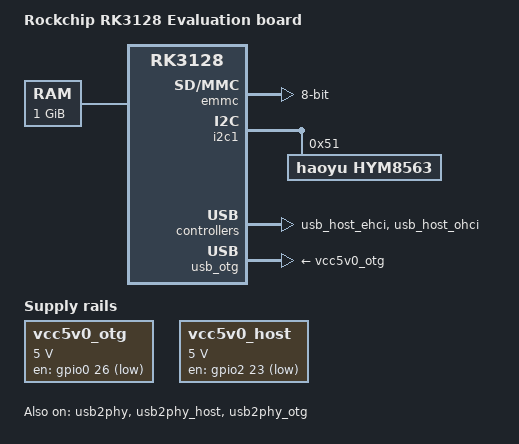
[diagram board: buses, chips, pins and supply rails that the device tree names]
// SPDX-License-Identifier: GPL-2.0+
/*
 * (C) Copyright 2017 Rockchip Electronics Co., Ltd
 */

/dts-v1/;

#include "rk3128.dtsi"

/ {
	model = "Rockchip RK3128 Evaluation board";
	compatible = "rockchip,rk3128-evb", "rockchip,rk3128";

	aliases {
		mmc0 = &emmc;
	};

	chosen {
		stdout-path = &uart2;
	};

	memory@60000000 {
		device_type = "memory";
		reg = <0x60000000 0x40000000>;
	};

	vcc5v0_otg: vcc5v0-otg-regulator {
		compatible = "regulator-fixed";
		gpio = <&gpio0 26 GPIO_ACTIVE_HIGH>;
		pinctrl-names = "default";
		pinctrl-0 = <&otg_vbus_drv>;
		regulator-name = "vcc5v0_otg";
		regulator-min-microvolt = <5000000>;
		regulator-max-microvolt = <5000000>;
	};

	vcc5v0_host: vcc5v0-host-regulator {
		compatible = "regulator-fixed";
		gpio = <&gpio2 23 GPIO_ACTIVE_HIGH>;
		pinctrl-names = "default";
		pinctrl-0 = <&host_vbus_drv>;
		regulator-name = "vcc5v0_host";
		regulator-always-on;
		regulator-min-microvolt = <5000000>;
		regulator-max-microvolt = <5000000>;
	};
};

&emmc {
	bus-width = <8>;
	pinctrl-names = "default";
	pinctrl-0 = <&emmc_clk &emmc_cmd &emmc_bus8>;
	status = "okay";
};

&i2c1 {
	status = "okay";

	hym8563: rtc@51 {
		compatible = "haoyu,hym8563";
		reg = <0x51>;
		#clock-cells = <0>;
		clock-output-names = "xin32k";
	};
};

&usb2phy {
	status = "okay";
};

&usb2phy_host {
	status = "okay";
};

&usb2phy_otg {
	status = "okay";
};

&usb_host_ehci {
	status = "okay";
};

&usb_host_ohci {
	status = "okay";
};

&usb_otg {
	vbus-supply = <&vcc5v0_otg>;
	status = "okay";
};

&pinctrl {
	usb-host {
		host_vbus_drv: host-vbus-drv {
			rockchip,pins = <2 RK_PC7 RK_FUNC_GPIO &pcfg_pull_none>;
		};
	};

	usb-otg {
		otg_vbus_drv: otg-vbus-drv {
			rockchip,pins = <0 RK_PD2 RK_FUNC_GPIO &pcfg_pull_none>;
		};
	};
};
